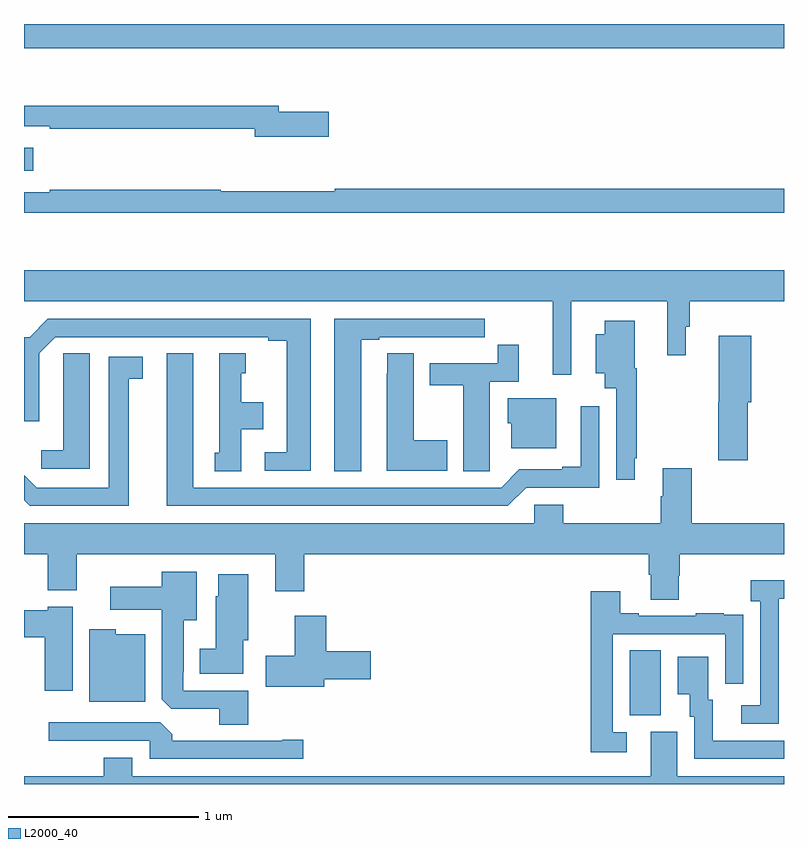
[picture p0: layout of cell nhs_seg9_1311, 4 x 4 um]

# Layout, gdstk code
import gdstk
lib = gdstk.Library(unit=1e-6, precision=1e-09)
def R(c, l, rs):  # rectangles x0, y0, x1, y1
    for r in rs: c.add(gdstk.rectangle(r[:2], r[2:], *l))
def P(c, l, *ps):  # polygons
    for p in ps: c.add(gdstk.Polygon(p, *l))
L2000_40 = (2000, 40)

nhs_seg9_1311 = lib.new_cell('nhs_seg9_1311')
R(nhs_seg9_1311, L2000_40, [(186.188,1240.861,186.352,1241.204), (183,1243.727,183.049,1243.849), (183,1244.372,187,1244.5)])
P(nhs_seg9_1311, L2000_40, [(184.603,1244.037),(184.342,1244.037),(184.342,1244.071),(183,1244.071),(183,1243.962),(183.136,1243.962),(183.136,1243.95),(184.214,1243.95),(184.214,1243.907),(184.603,1243.907)],
  [(187,1243.634),(184.636,1243.634),(184.636,1243.619),(184.036,1243.619),(184.036,1243.627),(183.136,1243.627),(183.136,1243.614),(183,1243.614),(183,1243.506),(187,1243.506)],
  [(185.88,1243.04),(186.386,1243.04),(186.386,1242.756),(186.484,1242.756),(186.484,1242.906),(186.503,1242.906),(186.503,1243.04),(187,1243.04),(187,1243.204),(183,1243.204),(183,1243.04),(185.783,1243.04),(185.783,1242.654),(185.88,1242.654)],
  [(184.774,1242.837),(184.87,1242.837),(184.87,1242.852),(185.146,1242.852),(185.146,1242.851),(185.312,1242.851),(185.312,1242.852),(185.425,1242.852),(185.425,1242.948),(184.634,1242.948),(184.634,1242.145),(184.774,1242.145)],
  [(184.51,1242.948),(183.125,1242.948),(183.029,1242.852),(183,1242.852),(183,1242.408),(183.081,1242.408),(183.081,1242.768),(183.165,1242.852),(184.286,1242.852),(184.286,1242.832),(184.382,1242.832),(184.382,1242.246),(184.266,1242.246),(184.266,1242.15),(184.51,1242.15)],
  [(186.214,1242.214),(186.226,1242.214),(186.226,1242.688),(186.214,1242.688),(186.214,1242.937),(186.056,1242.937),(186.056,1242.868),(186.008,1242.868),(186.008,1242.662),(186.056,1242.662),(186.056,1242.584),(186.117,1242.584),(186.117,1242.102),(186.214,1242.102)],
  [(186.809,1242.51),(186.827,1242.51),(186.827,1242.859),(186.656,1242.859),(186.656,1242.51),(186.655,1242.51),(186.655,1242.204),(186.809,1242.204)],
  [(185.451,1242.256),(185.452,1242.256),(185.452,1242.618),(185.603,1242.618),(185.603,1242.811),(185.494,1242.811),(185.494,1242.714),(185.135,1242.714),(185.135,1242.598),(185.312,1242.598),(185.312,1242.145),(185.451,1242.145)],
  [(183.346,1242.767),(183.207,1242.767),(183.207,1242.659),(183.206,1242.659),(183.206,1242.256),(183.09,1242.256),(183.09,1242.159),(183.346,1242.159)],
  [(185.227,1242.309),(185.05,1242.309),(185.05,1242.767),(184.911,1242.767),(184.911,1242.659),(184.91,1242.659),(184.91,1242.149),(185.227,1242.149)],
  [(185.643,1242.06),(186.027,1242.06),(186.027,1242.487),(185.93,1242.487),(185.93,1242.169),(185.834,1242.169),(185.834,1242.156),(185.607,1242.156),(185.511,1242.06),(183.892,1242.06),(183.892,1242.766),(183.752,1242.766),(183.752,1241.964),(185.547,1241.964)],
  [(184.144,1242.368),(184.258,1242.368),(184.258,1242.508),(184.144,1242.508),(184.144,1242.663),(184.168,1242.663),(184.168,1242.766),(184.028,1242.766),(184.028,1242.243),(184.004,1242.243),(184.004,1242.145),(184.144,1242.145)],
  [(183.55,1242.634),(183.625,1242.634),(183.625,1242.75),(183.446,1242.75),(183.446,1242.06),(183.066,1242.06),(183,1242.126),(183,1241.994),(183.03,1241.964),(183.55,1241.964)],
  [(185.8,1242.529),(185.546,1242.529),(185.546,1242.399),(185.564,1242.399),(185.564,1242.266),(185.8,1242.266)],
  [(186.447,1241.595),(186.452,1241.595),(186.452,1241.708),(187,1241.708),(187,1241.872),(186.515,1241.872),(186.515,1242.163),(186.362,1242.163),(186.362,1242.014),(186.35,1242.014),(186.35,1241.872),(185.837,1241.872),(185.837,1241.97),(185.685,1241.97),(185.685,1241.872),(183,1241.872),(183,1241.708),(183.125,1241.708),(183.125,1241.519),(183.277,1241.519),(183.277,1241.708),(184.322,1241.708),(184.322,1241.514),(184.475,1241.514),(184.475,1241.708),(186.287,1241.708),(186.287,1241.602),(186.299,1241.602),(186.299,1241.47),(186.447,1241.47)],
  [(184.181,1240.992),(183.837,1240.992),(183.837,1241.089),(183.841,1241.089),(183.841,1241.363),(183.91,1241.363),(183.91,1241.617),(183.725,1241.617),(183.725,1241.539),(183.453,1241.539),(183.453,1241.417),(183.725,1241.417),(183.725,1240.945),(183.774,1240.896),(184.028,1240.896),(184.028,1240.813),(184.181,1240.813)],
  [(184.153,1241.256),(184.18,1241.256),(184.18,1241.605),(184.022,1241.605),(184.022,1241.487),(184.01,1241.487),(184.01,1241.212),(183.926,1241.212),(183.926,1241.081),(184.153,1241.081)],
  [(186.972,1241.475),(187,1241.475),(187,1241.572),(186.825,1241.572),(186.825,1241.462),(186.876,1241.462),(186.876,1240.914),(186.774,1240.914),(186.774,1240.818),(186.972,1240.818)],
  [(186.172,1240.773),(186.099,1240.773),(186.099,1241.289),(186.69,1241.289),(186.69,1241.028),(186.786,1241.028),(186.786,1241.282),(186.785,1241.282),(186.785,1241.391),(186.683,1241.391),(186.683,1241.398),(186.535,1241.398),(186.535,1241.385),(186.235,1241.385),(186.235,1241.398),(186.139,1241.398),(186.139,1241.515),(185.983,1241.515),(185.983,1240.668),(186.172,1240.668)],
  [(183.256,1241.434),(183.126,1241.434),(183.126,1241.415),(183,1241.415),(183,1241.273),(183.11,1241.273),(183.11,1240.992),(183.256,1240.992)],
  [(184.579,1241.051),(184.825,1241.051),(184.825,1241.198),(184.592,1241.198),(184.592,1241.386),(184.424,1241.386),(184.424,1241.175),(184.272,1241.175),(184.272,1241.012),(184.579,1241.012)],
  [(183.637,1241.287),(183.483,1241.287),(183.483,1241.314),(183.344,1241.314),(183.344,1240.934),(183.637,1240.934)],
  [(187,1240.728),(186.625,1240.728),(186.625,1240.944),(186.601,1240.944),(186.601,1241.17),(186.44,1241.17),(186.44,1240.973),(186.503,1240.973),(186.503,1240.854),(186.528,1240.854),(186.528,1240.632),(187,1240.632)],
  [(184.471,1240.733),(184.358,1240.733),(184.358,1240.728),(183.779,1240.728),(183.779,1240.762),(183.717,1240.824),(183.129,1240.824),(183.129,1240.728),(183.663,1240.728),(183.663,1240.632),(184.471,1240.632)],
  [(187,1240.54),(186.439,1240.54),(186.439,1240.776),(186.299,1240.776),(186.299,1240.54),(183.571,1240.54),(183.571,1240.639),(183.419,1240.639),(183.419,1240.54),(183,1240.54),(183,1240.5),(187,1240.5)])

lib.write_gds('nhs_seg9_1311.gds')
